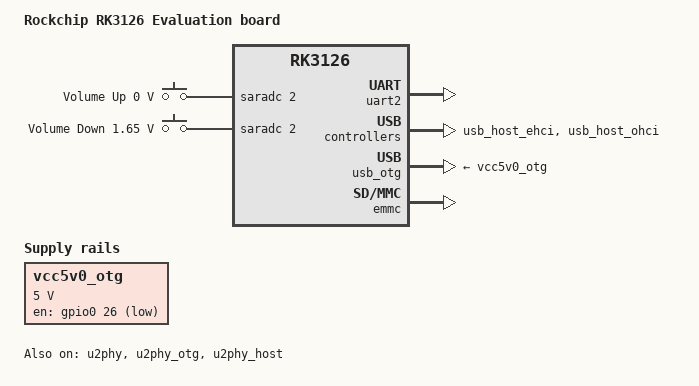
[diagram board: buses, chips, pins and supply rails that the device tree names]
/*
 * (C) Copyright 2017 Rockchip Electronics Co., Ltd
 *
 * SPDX-License-Identifier:     GPL-2.0+
 */

/dts-v1/;

#include "rk3128.dtsi"
#include "rk3128-u-boot.dtsi"
#include <dt-bindings/input/input.h>

/ {
	model = "Rockchip RK3126 Evaluation board";
	compatible = "rockchip,rk3126-evb", "rockchip,rk3126";

	vcc5v0_otg: vcc5v0-otg-drv {
		compatible = "regulator-fixed";
		regulator-name = "vcc5v0_otg";
		gpio = <&gpio0 26 GPIO_ACTIVE_HIGH>;
		pinctrl-names = "default";
		pinctrl-0 = <&otg_vbus_drv>;
		regulator-min-microvolt = <5000000>;
		regulator-max-microvolt = <5000000>;
	};

	adc-keys {
		compatible = "adc-keys";
		io-channels = <&saradc 2>;
		io-channel-names = "buttons";
		poll-interval = <100>;
		keyup-threshold-microvolt = <3300000>;

		button-up {
			label = "Volume Up";
			linux,code = <KEY_VOLUMEUP>;
			press-threshold-microvolt = <0>;
		};

		button-down {
			label = "Volume Down";
			linux,code = <KEY_VOLUMEDOWN>;
			press-threshold-microvolt = <1650000>;
		};
	};
};

&cru {
	compatible = "rockchip,rk3126-cru";
};

&u2phy {
	status = "okay";
};

&u2phy_otg {
	status = "okay";
};

&u2phy_host {
	status = "okay";
};

&uart2 {
	status = "okay";
};

&usb_host_ehci {
	status = "okay";
};

&usb_host_ohci {
	status = "okay";
};

&usb_otg {
	vbus-supply = <&vcc5v0_otg>;
	status = "okay";
};

&emmc {
	fifo-mode;
	status = "okay";
};

&pinctrl {
	usb_otg {
		otg_vbus_drv: otg-vbus-drv {
			rockchip,pins = <0 26 RK_FUNC_GPIO &pcfg_pull_none>;
		};
	};

	usb_host {
		host_vbus_drv: host-vbus-drv {
			rockchip,pins = <2 23 RK_FUNC_GPIO &pcfg_pull_none>;
		};
	};
};
